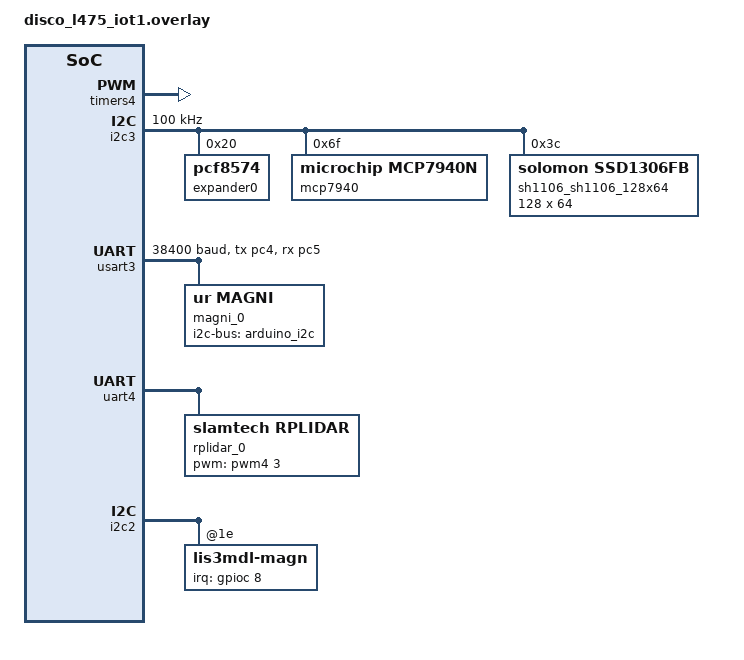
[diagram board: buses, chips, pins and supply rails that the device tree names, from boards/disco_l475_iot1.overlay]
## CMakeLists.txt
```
# Copyright (c) 2021-2026 Tilmann Unte
# SPDX-License-Identifier:  Apache-2.0

list(APPEND ZEPHYR_EXTRA_MODULES
   ${CMAKE_CURRENT_SOURCE_DIR}/ur_magni
   ${CMAKE_CURRENT_SOURCE_DIR}/rplidar
   ${CMAKE_CURRENT_SOURCE_DIR}/libfixmath
   ${CMAKE_CURRENT_SOURCE_DIR}/helpmath
   ${CMAKE_CURRENT_SOURCE_DIR}/kalman
   ${CMAKE_CURRENT_SOURCE_DIR}/movement
)

cmake_minimum_required(VERSION 3.13.1)
find_package(Zephyr REQUIRED HINTS $ENV{ZEPHYR_BASE})
project(magni_sample)

target_sources(app PRIVATE
  src/main.c
  )
```

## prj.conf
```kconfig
# Copyright (c) 2021-2026 Tilmann Unte
# SPDX-License-Identifier:  Apache-2.0

### Scheduling and OS specific
# Deactivate boot message if your really hard pressed for memory
CONFIG_BOOT_BANNER=n

# High-frequency tick-rate, to meet our timing precision requirements
CONFIG_SYS_CLOCK_TICKS_PER_SEC=100000

# We use fine-grained pre-emptive priorities
CONFIG_NUM_PREEMPT_PRIORITIES=127

# This scheduler uses red-black trees and has high codesize, but good scalability
CONFIG_SCHED_SCALABLE=y
# Activates support for relative deadlines, arbitration only within the same priority!
CONFIG_SCHED_DEADLINE=y

# Activate Sensor subsystem (required for pretty much everything in this project)
CONFIG_SENSOR=y

# Activate local libraries
CONFIG_LIBFIXMATH=y
CONFIG_HELPMATH=y
CONFIG_KALMAN_FILTER=y
CONFIG_MOVEMENT=y

# Uncomment/Activate the following to use Queue(1) deadline miss handling strategy (default: Skip-Next)
CONFIG_UR_MAGNI_DEADLINE_MISS_STRATEGY_QUEUE=y
CONFIG_RPLIDAR_DEADLINE_MISS_STRATEGY_QUEUE=y
CONFIG_MOVEMENT_DEADLINE_MISS_STRATEGY_QUEUE=y

### Logging
# Reroute Zephyr serial console to specific UART!
CONFIG_CONSOLE=y
CONFIG_CONSOLE_HANDLER=n
CONFIG_UART_CONSOLE=y

# Activate Logging
CONFIG_LOG_BUFFER_SIZE=4096
CONFIG_LOG=y
CONFIG_LOG_MODE_DEFERRED=y # Warning: this converts printk to logging messages, but this is generally prefered to not slow down application threads
##CONFIG_LOG_MODE_IMMEDIATE=n # in conflict with DEFERRED, but may be useful sometimes
CONFIG_LOG_PROCESS_THREAD=y
## Speed up log message handling at the cost of memory footprint
CONFIG_LOG_SPEED=y
# ERR&WRN&INF&DBG=4, ERR&WRN&INF=3, ERR&WRN=2, ERR=1, (None)=0
CONFIG_LOG_MAX_LEVEL=3

### Debugging (may depend on logging!)
# Build system will warn about assert, but it is useful for critical errors!
CONFIG_ASSERT=y

# Turns off compiler optimizations (WARNING: this will massively increase required stack sizes, especially if combined with logging)
#CONFIG_NO_OPTIMIZATIONS=y

# allows for thread-awareness in GDB sessions
CONFIG_DEBUG_THREAD_INFO=y

# allows for worst case stack usage analysis (e.g. using puncover)
CONFIG_STACK_USAGE=y

# Tracing, will cause delays and probably break real-time applications
#CONFIG_TRACING=y
#CONFIG_TRACING_CTF=y
#CONFIG_TRACING_BACKEND_RAM=y
#CONFIG_RAM_TRACING_BUFFER_SIZE=16384

# Collects data on thread execution, less likely to break application (report triggered by ur_magni_system thread every minute)
CONFIG_THREAD_NAME=y
CONFIG_THREAD_ANALYZER=y
CONFIG_THREAD_ANALYZER_AUTO_SEPARATE_CORES=n
CONFIG_THREAD_ANALYZER_USE_LOG=y

# Produces a coredump for use in GDB whenever the system crashes
#CONFIG_DEBUG_COREDUMP=y
#CONFIG_DEBUG_COREDUMP_BACKEND_LOGGING=y

#CONFIG_INIT_STACKS=y
#CONFIG_THREAD_STACK_INFO=y
#CONFIG_SYSTEM_WORKQUEUE_STACK_SIZE=16384
```

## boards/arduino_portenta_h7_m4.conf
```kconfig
# Copyright (c) 2026 Tilmann Unte
# SPDX-License-Identifier:  Apache-2.0

################################################################################
# Activate UART serial connection (Debug, Magni, RPLIDAR)
CONFIG_SERIAL=y
CONFIG_UART_INTERRUPT_DRIVEN=y

# Overflow protection
CONFIG_HW_STACK_PROTECTION=y

CONFIG_SRAM_VECTOR_TABLE=y
CONFIG_SRAM_SW_ISR_TABLE=y

################################################################################
# Include Magni Driver
CONFIG_APPLICATION_DEFINED_SYSCALL=y
CONFIG_UR_MAGNI_DRIVER=y

# Include Slamtech RPLidar Driver
CONFIG_RPLIDAR=y

################################################################################
```

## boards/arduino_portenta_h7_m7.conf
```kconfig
# Copyright (c) 2026 Tilmann Unte
# SPDX-License-Identifier:  Apache-2.0

################################################################################

# Activate UART serial connection (Debug, Magni, RPLIDAR)
CONFIG_SERIAL=y
CONFIG_UART_INTERRUPT_DRIVEN=y
# USB CDC ACM is the default serial interface for this board, but it creates a number of additional threads we don't want in our comparison
CONFIG_USB_CDC_ACM=n
CONFIG_USB_DEVICE_STACK=n
CONFIG_USB_DEVICE_STACK_NEXT=n

# Overflow protection
CONFIG_HW_STACK_PROTECTION=y

CONFIG_SRAM_VECTOR_TABLE=y
CONFIG_SRAM_SW_ISR_TABLE=y

################################################################################
# Include Magni Driver
CONFIG_APPLICATION_DEFINED_SYSCALL=y
CONFIG_UR_MAGNI_DRIVER=y

# Include Slamtech RPLidar Driver
CONFIG_RPLIDAR=y

################################################################################
```

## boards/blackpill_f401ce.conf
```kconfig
# Copyright (c) 2021 Tilmann Unte
# SPDX-License-Identifier:  Apache-2.0

################################################################################
# Activate UART serial connection (Debug, Magni, RPLIDAR)
CONFIG_SERIAL=y
CONFIG_UART_INTERRUPT_DRIVEN=y

# Overflow protection
CONFIG_HW_STACK_PROTECTION=y

CONFIG_SRAM_VECTOR_TABLE=y
CONFIG_SRAM_SW_ISR_TABLE=y

################################################################################
# Include Magni Driver
CONFIG_APPLICATION_DEFINED_SYSCALL=y
CONFIG_UR_MAGNI_DRIVER=y

# Include Slamtech RPLidar Driver
CONFIG_RPLIDAR=y

################################################################################
```

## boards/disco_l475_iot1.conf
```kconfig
# Copyright (c) 2021-2026 Tilmann Unte
# SPDX-License-Identifier:  Apache-2.0

# Activate UART serial connection (Debug, Magni, RPLIDAR)
CONFIG_SERIAL=y
CONFIG_UART_INTERRUPT_DRIVEN=y

# Activate I2C (Magni expansion bus)
#CONFIG_I2C=y

# Activate PWM (RC Receiver, RPLIDAR motor)
CONFIG_PWM=y
CONFIG_PWM_CAPTURE=y

# Activate GPIO ("User" button, HC-SR04)
#CONFIG_GPIO=y

# Uncomment if you want to shut down the system (useful for reliable termination)
#CONFIG_POWEROFF=y

# Overflow protection
CONFIG_HW_STACK_PROTECTION=y

CONFIG_SRAM_VECTOR_TABLE=y
CONFIG_SRAM_SW_ISR_TABLE=y

# Activates Task Watchdog functionality (deactivate for debugging sessions)
CONFIG_WATCHDOG=y
CONFIG_TASK_WDT=y
CONFIG_TASK_WDT_CHANNELS=100
CONFIG_TASK_WDT_MIN_TIMEOUT=1
CONFIG_TASK_WDT_HW_FALLBACK=y
CONFIG_TASK_WDT_HW_FALLBACK_DELAY=10000
#CONFIG_WDT_LOG_LEVEL_DBG=y
CONFIG_WDT_DISABLE_AT_BOOT=y

################################################################################
# Include Magni Driver
CONFIG_APPLICATION_DEFINED_SYSCALL=y
CONFIG_UR_MAGNI_DRIVER=y
#CONFIG_UR_MAGNI_EXPANDER=y

# Activate display driver to use Magni's SH1106 OLED
# also activates I2C, but we have multiple devices, so we did it seperately
#CONFIG_DISPLAY=y

# Include Slamtech RPLidar Driver
CONFIG_RPLIDAR=y
CONFIG_RPLIDAR_MOTOR_CTRL=y

# ST sensor drivers
CONFIG_SENSOR=y
CONFIG_LIS3MDL=n
#CONFIG_LIS3MDL_TRIGGER_GLOBAL_THREAD=y
#CONFIG_LIS3MDL_ODR="10"
#CONFIG_LIS3MDL_FS=4
CONFIG_LSM6DSL=n
#CONFIG_LSM6DSL_TRIGGER_GLOBAL_THREAD=y
#CONFIG_LSM6DSL_GYRO_FS=125
#CONFIG_LSM6DSL_GYRO_ODR=1
#CONFIG_LSM6DSL_ACCEL_FS=2
#CONFIG_LSM6DSL_ACCEL_ODR=1
CONFIG_VL53L0X=n
```

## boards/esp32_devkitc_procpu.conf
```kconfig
# Copyright (c) 2026 Tilmann Unte
# SPDX-License-Identifier:  Apache-2.0

# Board specific setting making life easier
CONFIG_BOOTLOADER_MCUBOOT=y

# Activate UART serial connection (Debug, Magni, RPLIDAR)
CONFIG_SERIAL=y
CONFIG_UART_INTERRUPT_DRIVEN=y

CONFIG_SRAM_SW_ISR_TABLE=y

# Activates Task Watchdog functionality (deactivate for debugging sessions)
CONFIG_WATCHDOG=y
CONFIG_TASK_WDT=y
CONFIG_TASK_WDT_CHANNELS=100
CONFIG_TASK_WDT_MIN_TIMEOUT=1
CONFIG_TASK_WDT_HW_FALLBACK=y
CONFIG_TASK_WDT_HW_FALLBACK_DELAY=10000
#CONFIG_WDT_LOG_LEVEL_DBG=y
CONFIG_WDT_DISABLE_AT_BOOT=y

################################################################################
# Include Magni Driver
CONFIG_APPLICATION_DEFINED_SYSCALL=y
CONFIG_UR_MAGNI_DRIVER=y

# Include Slamtech RPLidar Driver
CONFIG_RPLIDAR=y
```

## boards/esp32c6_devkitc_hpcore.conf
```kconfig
# Copyright (c) 2026 Tilmann Unte
# SPDX-License-Identifier:  Apache-2.0

CONFIG_ULP_COPROC_ENABLED=n
CONFIG_BOOTLOADER_MCUBOOT=y

# Activate UART serial connection (Debug, Magni, RPLIDAR)
CONFIG_SERIAL=y
CONFIG_UART_INTERRUPT_DRIVEN=y

# almost complete standard library for applications
#CONFIG_PICOLIBC_USE_MODULE=y

CONFIG_SRAM_SW_ISR_TABLE=y

# Activates Task Watchdog functionality (deactivate for debugging sessions)
#CONFIG_WATCHDOG=y
#CONFIG_TASK_WDT=y
#CONFIG_TASK_WDT_CHANNELS=100
#CONFIG_TASK_WDT_MIN_TIMEOUT=1
#CONFIG_TASK_WDT_HW_FALLBACK=y
#CONFIG_TASK_WDT_HW_FALLBACK_DELAY=10000
#CONFIG_WDT_LOG_LEVEL_DBG=y
#CONFIG_WDT_DISABLE_AT_BOOT=y
################################################################################
# Include Magni Driver
CONFIG_APPLICATION_DEFINED_SYSCALL=y
CONFIG_UR_MAGNI_DRIVER=y

# Include Slamtech RPLidar Driver
CONFIG_RPLIDAR=y
```

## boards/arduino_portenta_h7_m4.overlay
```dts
/* Copyright (c) 2026 Tilmann Unte
 * SPDX-License-Identifier:  Apache-2.0
 */

/* TODO pins pa9 and pa10 */
/*
/ {
	/* HW resources are split between CM7 and CM4 */
	chosen {
		zephyr,console = &usart1;
		zephyr,shell-uart = &usart1;
	};
};
*/
&usart1 {
	status = "disabled";
};

&uart4 {
	status = "disabled";
/*
	pinctrl-0 = < &uart4_tx_pa0_c &uart4_rx_pa1_c >;
	pinctrl-names = "default";
	current-speed = <115200>;
	
	rplidar_0 {
		compatible = "slamtech,rplidar";
		status = "okay";
	};
*/
};

&usart6 {
	status = "disabled";
/*
	pinctrl-0 = < &usart6_tx_pc6 &usart6_rx_pc7 >;
	pinctrl-names = "default";
	current-speed = <38400>;
	
	magni_0 {
		compatible = "ur,magni";
	};
*/
};
```

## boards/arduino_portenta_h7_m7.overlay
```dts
/* Copyright (c) 2026 Tilmann Unte
 * SPDX-License-Identifier:  Apache-2.0
 */

/* Serial 2 on the mid carrier board! */
&usart6 {
	status = "okay";
	current-speed = <38400>;

	magni_0 {
		compatible = "ur,magni";
	};
};

/* Serial 3 on the mid carrier board! */
&uart8 {
	status = "okay";
	current-speed = <115200>;
	
	rplidar_0 {
		compatible = "slamtech,rplidar";
		status = "okay";
	};
};

&usart1 {
	status = "okay";
};

/ {
	chosen {
		zephyr,console = &usart1;
		zephyr,shell-uart = &usart1;
	};
};

&usbotg_hs {
	status = "disabled";
};

&bt_hci_uart {
	status = "disabled";
};

&wifi {
	status = "disabled";
};
```

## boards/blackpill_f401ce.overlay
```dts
/* Copyright (c) 2026 Tilmann Unte
 * SPDX-License-Identifier:  Apache-2.0
 */

/*
&timers4 {
	status = "okay";

	pwm4: pwm {
		status = "okay";
		pinctrl-0 = <&tim4_ch1_pb6 &tim4_ch2_pb7>;
		pinctrl-names = "default";
	};
};
*/

&usart2 {
	pinctrl-0 = <&usart2_tx_pa2 &usart2_rx_pa3>;
	pinctrl-names = "default";
	status = "okay";
	current-speed = <38400>;

	magni_0 {
		compatible = "ur,magni";
	};
};

&usart6 {
	pinctrl-0 = <&usart6_tx_pa11 &usart6_rx_pa12>;
	pinctrl-names = "default";
	status = "okay";
	current-speed = <115200>;

	rplidar_0 {
		compatible = "slamtech,rplidar";
		status = "okay";
	};
};

/* in conflict with usart6 pins */
&usbotg_fs {
	status = "disabled";
};
```

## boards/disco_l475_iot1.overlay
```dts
/*
 * Copyright (c) 2021-2026 Tilmann Unte
 * SPDX-License-Identifier:  Apache-2.0
*/

&timers4 {
	status = "okay";
	pwm4: pwm {
		status = "okay";
		pinctrl-0 = <&tim4_ch3_pd14>;
		pinctrl-names = "default";
	};
};

/* Strictly speaking, I2C is optional, but highly recommended! */
&i2c3 {
	status = "okay";
	clock-frequency = <I2C_BITRATE_STANDARD>;

	expander0: pcf8574@20 {
		compatible = "pcf8574";
		reg = <0x20>;
	};
	
	mcp7940@6f {
		compatible = "microchip,mcp7940n";
		reg = <0x6f>;
	};
	
	sh1106_sh1106_128x64: ssd1306@3c {
		compatible = "solomon,ssd1306fb";
		reg = <0x3c>;
		width = <128>;
		height = <64>;
		segment-offset = <2>;
		page-offset = <0>;
		display-offset = <0>;
		multiplex-ratio = <63>;
		segment-remap;
		com-invdir;
		prechargep = <0x22>;
	};
};

&usart3 {
	status = "okay";
	current-speed = <38400>;
	pinctrl-0 = <&usart3_tx_pc4 &usart3_rx_pc5>;
	pinctrl-names = "default";
	
	magni_0 {
		compatible = "ur,magni";
		i2c-bus = <&arduino_i2c>;
	};
};

&uart4 {
	status = "okay";
	pinctrl-names = "default";
	
	rplidar_0 {
		compatible = "slamtech,rplidar";
		status = "okay";
		pwms = <&pwm4 3 65536 PWM_POLARITY_NORMAL>;
	};
};

/* allows for interrupt triggering when magnetometer data is available */
&i2c2 {
	lis3mdl-magn@1e {
		irq-gpios = <&gpioc 8 GPIO_ACTIVE_HIGH>;
	};
};

/* Voltage Sensing conflicts with UART4 functionality */
&vref {
	status = "disabled";
};

&vbat {
	status = "disabled";
};

/* ADC1 conflicts with USART3 functionality */
&adc1 {
	status = "disabled";
};
```

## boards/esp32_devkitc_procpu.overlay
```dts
/* Copyright (c) 2026 Tilmann Unte
 * SPDX-License-Identifier:  Apache-2.0
 */

&pinctrl {
	uart1_default: uart1_default {
		group1 {
			pinmux = <UART1_TX_GPIO19>;
		};

		group2 {
			pinmux = <UART1_RX_GPIO18>;
			bias-pull-up;
		};
	};
};
&uart1 {
	current-speed = <38400>;
	pinctrl-0 = <&uart1_default>;
	pinctrl-names = "default";
	status = "okay";

	magni_0 {
		compatible = "ur,magni";
	};
};

&uart2 {
	status = "okay";
	
	rplidar_0 {
		compatible = "slamtech,rplidar";
		status = "okay";
	};
};
```

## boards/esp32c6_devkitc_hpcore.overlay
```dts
/* Copyright (c) 2026 Tilmann Unte
 * SPDX-License-Identifier:  Apache-2.0
 */
/* LPUART uses pins 5 and 4 */

&timer0 {
	status = "okay";

	counter {
		status = "okay";
	};
};

&timer1 {
	status = "okay";

	counter {
		status = "okay";
	};
};

/ {
	uartbb0: uartbb0 {
		compatible = "zephyr,uart-bitbang";
		tx-gpios = <&gpio0 10 GPIO_ACTIVE_HIGH>;
		rx-gpios = <&gpio0 11 GPIO_ACTIVE_HIGH>;
		tx-fifo-size = <8192>;
		rx-fifo-size = <8192>;
		current-speed = <9600>;
		data-bits = <8>;
		stop-bits = "1";
		parity = "none";
		tx-timer = <&timer0>;
		rx-timer = <&timer1>;
		status = "okay";
	};

	chosen {
		zephyr,console = &uartbb0;
		zephyr,shell-uart = &uartbb0;
	};

};
		
&pinctrl {
	uart0_default: uart0_default {
		group1 {
			pinmux = <UART0_TX_GPIO20>;
			output-high;
		};

		group2 {
			pinmux = <UART0_RX_GPIO21>;
			bias-pull-up;
		};
	};

	uart1_default: uart1_default {
		group1 {
			pinmux = <UART1_TX_GPIO18>;
			output-high;
		};

		group2 {
			pinmux = <UART1_RX_GPIO19>;
			bias-pull-up;
		};
	};
};

&uart0 {
	status = "okay";
	current-speed = <38400>;
	pinctrl-0 = <&uart0_default>;
	pinctrl-names = "default";

	magni_0 {
		compatible = "ur,magni";
	};
};

&uart1 {
	status = "okay";
	current-speed = <115200>;
	pinctrl-0 = <&uart1_default>;
	pinctrl-names = "default";

	rplidar_0 {
		compatible = "slamtech,rplidar";
		status = "okay";
	};
};
```

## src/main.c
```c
/*
 * Copyright (c) 2021-2026 Tilmann Unte
 * SPDX-License-Identifier:  Apache-2.0
*/

#include <zephyr/device.h>
#include <zephyr/kernel.h>
#include <zephyr/drivers/sensor.h>
#include <zephyr/logging/log.h>
#include <zephyr/timing/timing.h>
#include <zephyr/task_wdt/task_wdt.h>
#include <zephyr/drivers/watchdog.h>

#ifdef CONFIG_UR_MAGNI_DRIVER
#include "ur_magni.h"
#endif /* CONFIG_UR_MAGNI_DRIVER */
#ifdef CONFIG_RPLIDAR
#include "rplidar.h"
#endif /* CONFIG_RPLIDAR */
#ifdef CONFIG_LIBFIXMATH
#include "fixmath.h"
#endif /* CONFIG_LIBFIXMATH */
#ifdef CONFIG_HELPMATH
#include "helpmath.h"
#endif /* CONFIG_HELPMATH */
#ifdef CONFIG_KALMAN_FILTER
#include "kalman.h"
#endif /* CONFIG_KALMAN_FILTER */
#ifdef CONFIG_MOVEMENT
#include "movement.h"
#endif /* CONFIG_MOVEMENT */

#define STACK_SIZE 1024

#ifdef CONFIG_UR_MAGNI_DRIVER
#define MAGNI DT_INST(0, ur_magni)
#define MAGNI_THREAD_PRIORITY UR_MAGNI_VELOCITY_THREAD_PRIORITY // = 26
#define MAGNI_THREAD_PERIOD_MSEC UR_MAGNI_VELOCITY_UPDATE_MSEC
#endif /* CONFIG_UR_MAGNI_DRIVER */

#ifdef CONFIG_RC_RECEIVER_DRIVER
#define GEAR DT_NODELABEL(gear)
#endif /* CONFIG_RC_RECEIVER_DRIVER */

#ifdef CONFIG_RPLIDAR
#define RPLIDAR DT_INST(0, slamtech_rplidar)
#define RPLIDAR_FULL_ROTATION_MSEC 250
#define DISTANCE_MEASUREMENT_THREAD_PRIORITY LOG2CEIL(RPLIDAR_FULL_ROTATION_MSEC * NSEC_PER_MSEC) // = 28
#endif /* CONFIG_RPLIDAR */

LOG_MODULE_REGISTER(application);

#ifdef CONFIG_UR_MAGNI_DRIVER
atomic_t magni_watchdog = ATOMIC_INIT(-1);
#endif /* CONFIG_UR_MAGNI_DRIVER */

#ifdef CONFIG_RPLIDAR
struct lidar_measurement {
	fix16_t angle, dist;
};

struct lidar_data {
	const struct device *rplidar;
	struct k_timer timer;
	struct k_msgq *msgq;
	struct k_mutex *measurements_mutex;
	struct lidar_measurement* live_measurements;
	struct lidar_measurement* snap_measurements;
	struct lidar_measurement measurements[2][360];
	int64_t timestamp;
	uint16_t measurement_count;
	atomic_t rplidar_watchdog;
};

K_MUTEX_DEFINE(measurements_mutex);

struct lidar_data lidar_data_0 = {
	.live_measurements = NULL,
	.snap_measurements = NULL,
	.timestamp = -1,
	.measurement_count = 0,
	.rplidar_watchdog = ATOMIC_INIT(-1),
	.measurements_mutex = &measurements_mutex,
};

#endif /* CONFIG_RPLIDAR */

#ifdef CONFIG_WATCHDOG
static void main_watchdog_callback(int channel_id, void* user_data)
{
	k_tid_t thread = (k_tid_t) user_data;
	#ifdef CONFIG_THREAD_NAME
	const char* name = k_thread_name_get(thread);
	if (name != NULL) {
		LOG_DBG("%s deadline", name);
	} else {
		LOG_DBG("%p on chan%i deadline", thread, channel_id);
	}
	#else
	LOG_DBG("%p on chan %i deadline", thread, channel_id);
	#endif /* CONFIG_THREAD_NAME */
	//TODO: Potential to implement Kill Strategy
	//Caveat: all resources (e.g. mutexes) held by thread MUST be released first!
	//Thread then needs to be reinitialized
	//k_thread_abort(*thread);
}
#endif /* CONFIG_WATCHDOG */

#ifdef CONFIG_UR_MAGNI_DRIVER
//FIXME: This thread has a mess of compile-time dependencies
static void magni_thread(void* p1, void* p2, void* p3)
{
	ARG_UNUSED(p1);
	ARG_UNUSED(p2);
	ARG_UNUSED(p3);
	const struct device* magni = DEVICE_DT_GET(MAGNI);
	int ret;
	ret = device_is_ready(magni);
	__ASSERT(ret , "Can't find magni");
	
	#ifdef CONFIG_RC_RECEIVER_DRIVER
	const struct device *gear = DEVICE_DT_GET(GEAR);

	ret = device_is_ready(gear);
	__ASSERT(ret, "can't find RC gear channel");

	struct sensor_value gear_val;
	#endif /* CONFIG_RC_RECEIVER_DRIVER */
	
	#ifdef CONFIG_MOVEMENT
	struct movement movement;
	movement_init(&movement, magni);
	
	struct movement_pose current, goal;
	get_current_pose(&movement, &current, K_FOREVER);
	get_current_pose(&movement, &goal, K_FOREVER);
	LOG_DBG("start pose: x: %i mm, y: %i mm, yaw: %i millirad", fix16_to_int(fix16_mul(current.x, fix16_from_int(1000))), fix16_to_int(fix16_mul(current.y, fix16_from_int(1000))), fix16_to_int(fix16_mul(current.orientation, fix16_from_int(1000))));
	
	struct sensor_value vel_left, vel_right;
	fix16_t avg_vel;
	#ifdef CONFIG_RPLIDAR
	fix16_t dist_in_front = 0;
	fix16_t min_dist = fix16_from_int(12);
	const fix16_t dist_threshold = fix16_div(fix16_from_int(80), fix16_from_int(100));
	const fix16_t front_lower = deg_to_rad(fix16_from_int(83));
	const fix16_t front_upper = deg_to_rad(fix16_from_int(97));
	int64_t prev_timestamp = -1;
	bool new_data = false;
	bool move_command_delay = false;
	bool obstacle_reached = false;
	
	#ifdef CONFIG_KALMAN_FILTER
	struct kalman kalman;
	fix16_t kf_dist;
	kalman_init(&kalman);
	#endif /* CONFIG_KALMAN_FILTER */
	#endif /* CONFIG_RPLIDAR */
	#endif /* CONFIG_MOVEMENT */
	
	extern const k_tid_t magni_tcb;
	
	struct k_timer timer;
	k_timer_init(&timer, NULL, NULL);
	uint64_t period_ticks = k_ms_to_ticks_near64(MAGNI_THREAD_PERIOD_MSEC);
	k_timer_start(&timer,
		K_TICKS(period_ticks - (k_uptime_ticks() % period_ticks)),
		K_TICKS(period_ticks));

	#ifdef CONFIG_UR_MAGNI_DEADLINE_MISS_STRATEGY_QUEUE
	bool deadline_miss = false;
	#endif

	#ifdef CONFIG_WATCHDOG
	k_timer_status_sync(&timer);
	atomic_set(&magni_watchdog, task_wdt_add(MAGNI_THREAD_PERIOD_MSEC, main_watchdog_callback, magni_tcb));
	task_wdt_feed(atomic_get(&magni_watchdog));
	#else
	int64_t deadline;
	#endif /* CONFIG_WATCHDOG */

	for(;;) {
		#ifdef CONFIG_UR_MAGNI_DEADLINE_MISS_STRATEGY_QUEUE
		if (deadline_miss == false) k_timer_status_sync(&timer);
		#else
		k_timer_status_sync(&timer);
		#endif

		k_timepoint_t deadline_tp = sys_timepoint_calc(K_TICKS(k_timer_remaining_ticks(&timer)));

		#ifdef CONFIG_SCHED_DEADLINE
		k_thread_deadline_set(magni_tcb,
			k_ticks_to_cyc_floor32(k_timer_remaining_ticks(&timer)));
		#endif /* CONFIG_SCHED_DEADLINE */
		
		#ifndef CONFIG_WATCHDOG
		deadline = k_uptime_get() + k_timer_remaining_get(&timer);
		#endif /* CONFIG_WATCHDOG */
		
	        //k_timepoint_t end = sys_timepoint_calc(K_MSEC(k_timer_remaining_get(&timer)));

		#ifdef CONFIG_RC_RECEIVER_DRIVER
		ret = sensor_sample_fetch(gear);
		if (!ret) {
			sensor_channel_get(gear, SENSOR_CHAN_ALL, &gear_val);
		} else {
			LOG_WRN("Can't fetch new data from remote");
		}
		
		#ifdef CONFIG_MOVEMENT
		// Switch setting will continuously force stop all move commands
		if (gear_val.val2 < 1500) {
			LOG_INF("RC stop command received!");
			force_stop(movement);
		}
		#endif /* CONFIG_MOVEMENT */
		#endif /* CONFIG_RC_RECEIVER_DRIVER */
		
		#ifdef CONFIG_RPLIDAR
		// FIXME: directly accessing the global data is not great design
		new_data = false;
		if (k_mutex_lock(lidar_data_0.measurements_mutex, sys_timepoint_timeout(deadline_tp)) == 0) {
			
			if (lidar_data_0.timestamp > prev_timestamp) {
				dist_in_front = 0;
				min_dist = fix16_from_int(12);
				fix16_t avg_div = 0;
				
				for (int16_t i = 0; i < lidar_data_0.measurement_count; i++) {
					if (lidar_data_0.snap_measurements[i].angle >= front_lower && lidar_data_0.snap_measurements[i].angle <= front_upper) {
						dist_in_front = fix16_add(dist_in_front, lidar_data_0.snap_measurements[i].dist);
						avg_div = fix16_add(avg_div, fix16_from_int(1));
					}
					
					if (lidar_data_0.snap_measurements[i].dist < min_dist) {
						min_dist = lidar_data_0.snap_measurements[i].dist;
					}
				}
				
				if (avg_div != 0) {
					dist_in_front = fix16_div(dist_in_front, avg_div);
					new_data = true;
				}
				
				prev_timestamp = lidar_data_0.timestamp;
			}
			
			k_mutex_unlock(lidar_data_0.measurements_mutex);
		} else {
			LOG_ERR("Cannot access measurement mutex");
		}
		#endif /* CONFIG_RPLIDAR */
		
		#ifdef CONFIG_MOVEMENT
		get_current_pose(&movement, &current,
			sys_timepoint_timeout(deadline_tp));

		#ifdef CONFIG_RPLIDAR
		if (!is_moving(&movement)) {
			if (!move_command_delay) {
				if (obstacle_reached == false && new_data == true && dist_in_front > dist_threshold) { /* Move Forward a bit*/
					LOG_DBG("Dist in front is %i mm", fix16_to_int(fix16_mul(dist_in_front, fix16_from_int(1000))));
					fix16_t safe_dist = fix16_div(fix16_from_int(1), fix16_from_int(2));//fix16_sub(min_dist, dist_threshold);
					// make sure we're actually making useful progress with the next move				
					if (safe_dist > fix16_div(fix16_from_int(5), fix16_from_int(100))) {
						// lidar polar coordinates to local cartesian coordinates, then rotate and transform to produce global poal position
						fix16_t local_x, local_y;
						local_x = fix16_mul(safe_dist, fix16_cos(PI_DIV_2));
						local_y = fix16_mul(safe_dist, fix16_sin(PI_DIV_2));
				
						fix16_t global_x_delta, global_y_delta;
						global_x_delta = fix16_sub(fix16_mul(local_y, fix16_cos(current.orientation)),
									fix16_mul(local_x, fix16_sin(current.orientation)));
						global_y_delta = fix16_add(fix16_mul(local_y, fix16_sin(current.orientation)),
									fix16_mul(local_x, fix16_cos(current.orientation)));

						goal.x = current.x + global_x_delta;
						goal.y = current.y + global_y_delta;
						// goal.orientation is unused and we end up with whatever orientation the movement API requires to reach the goal position
						#ifdef CONFIG_RC_RECEIVER_DRIVER
						if (gear.val2 >= 1500) {
							move_command(&movement, goal.x, goal.y,
								sys_timepoint_timeout(deadline_tp));
							move_command_delay = true;
							obstacle_reached = true;
						}
						#else
						move_command(&movement, goal.x, goal.y,
							sys_timepoint_timeout(deadline_tp));
						move_command_delay = true;
						obstacle_reached = true;
						#endif /* CONFIG_RC_RECEIVER_DRIVER */
						
						#ifdef CONFIG_KALMAN_FILTER
						kalman_reset(&kalman);
						#endif /* CONFIG_KALMAN_FILTER */
					}
				} else if (obstacle_reached == true && new_data == true) { /* Turn to look for a way around an obstacle */
					
					//FIXME: Remove code duplication
					// We need a minimum amount of linear movement as pure rotations are not supported by our movement command library
					fix16_t safe_dist = fix16_div(fix16_from_int(6), fix16_from_int(100));
					// lidar polar coordinates to local cartesian coordinates, then rotate and transform to produce global poal position
					fix16_t local_x, local_y;
					local_x = fix16_mul(safe_dist, fix16_cos(180));
					local_y = fix16_mul(safe_dist, fix16_sin(180));
				
					fix16_t global_x_delta, global_y_delta;
					global_x_delta = fix16_sub(fix16_mul(local_y, fix16_cos(current.orientation)),
								fix16_mul(local_x, fix16_sin(current.orientation)));
					global_y_delta = fix16_add(fix16_mul(local_y, fix16_sin(current.orientation)),
								fix16_mul(local_x, fix16_cos(current.orientation)));

					goal.x = current.x + global_x_delta;
					goal.y = current.y + global_y_delta;
					// goal.orientation is unused and we end up with whatever orientation the movement API requires to reach the goal position
					#ifdef CONFIG_RC_RECEIVER_DRIVER
					if (gear.val2 >= 1500) {
						move_command(&movement, goal.x, goal.y,
							sys_timepoint_timeout(deadline_tp));
						move_command_delay = true;
						obstacle_reached = false;
					}
					#else
					move_command(&movement, goal.x, goal.y,
						sys_timepoint_timeout(deadline_tp));
					move_command_delay = true;
					obstacle_reached = false;
					#endif /* CONFIG_RC_RECEIVER_DRIVER */
					
					#ifdef CONFIG_KALMAN_FILTER
					kalman_reset(&kalman);
					#endif /* CONFIG_KALMAN_FILTER */
				} else {
					LOG_DBG("Waiting for distance data before making a move");
				}
			} else {
				// Whenever we have just finished a move command we allow for a delay to acquire fresher LiDAR data
				move_command_delay = false;
			}
		} else {
			if (!is_turning(&movement)) {
				ur_magni_sample_fetch_with_timeout(magni, K_FOREVER);
				sensor_channel_get(magni, SENSOR_CHAN_UR_MAGNI_VELOCITY_LEFT, &vel_left);
				sensor_channel_get(magni, SENSOR_CHAN_UR_MAGNI_VELOCITY_RIGHT, &vel_right);
			
				avg_vel = fix16_div(fix16_add(sensor_value_to_fix16_t(&vel_left), sensor_value_to_fix16_t(&vel_right)), fix16_from_int(2));
			
				if (new_data == true) {
					#ifdef CONFIG_KALMAN_FILTER
					kf_dist = kalman_step(&kalman, dist_in_front, PI_DIV_2, avg_vel);
					
					if (kf_dist < dist_threshold) {
						force_stop(&movement);
						obstacle_reached = true;
						LOG_DBG("Distance under threshold");
					}
					
					//FIXME: Detecting a dynamic change is not reliable in a single iteration. Experiments with sonars had good results when resetting after 3 iterations of significant deviation, but the LiDAR is slower and more noisy in comparision.
					/*if (kf_dist > fix16_mul(dist_in_front, fix16_div(fix16_from_int(6), fix16_from_int(4)))) {
						LOG_INF("Sudden appearance of an obstacle, resetting Kalman");
						kalman_reset(&kalman);
						if (dist_in_front < dist_threshold) {
							force_stop(&movement);
							LOG_INF("Raw distance under threshold");
						}
					}*/
					#else
					if (dist_in_front < dist_threshold) {
						force_stop(&movement);
						obstacle_reached = true;
						LOG_DBG("Measured distance under threshold");
					}
					#endif /* CONFIG_KALMAN_FILTER */
				} else {
					LOG_DBG("Moving without new data on surroundings");
				}
			} else {
				#ifdef CONFIG_KALMAN_FILTER
				kalman_reset(&kalman);
				#endif /* CONFIG_KALMAN_FILTER */
			}
		}
		#endif /* CONFIG_RPLIDAR */
		#endif /* CONFIG_MOVEMENT */

		#ifdef CONFIG_UR_MAGNI_DEADLINE_MISS_STRATEGY_QUEUE
		deadline_miss = sys_timepoint_expired(deadline_tp);
		#endif

		#ifdef CONFIG_WATCHDOG
		task_wdt_feed(atomic_get(&magni_watchdog));
		#else
		if (deadline < k_uptime_get()) {
			LOG_DBG("Top-level magni deadline");
		}
		#endif /* CONFIG_WATCHDOG */
	}
}
#endif /* CONFIG_UR_MAGNI_DRIVER */

#ifdef CONFIG_RPLIDAR

static void lidar_thread(void* p1, void* p2, void* p3)
{
	ARG_UNUSED(p2);
	ARG_UNUSED(p3);

	struct lidar_data* data = p1;
	
	data->rplidar = DEVICE_DT_GET(RPLIDAR);
	int ret = device_is_ready(data->rplidar);
	__ASSERT(ret, "Lidar not found!");
	
	rplidar_measurement_node node;
	rplidar_result ans;
	
	extern const k_tid_t lidar_tcb;
	
	const fix16_t lower_range = fix16_div(fix16_from_int(15), fix16_from_int(100));
	const fix16_t upper_range = fix16_from_int(12);

	k_timer_init(&data->timer, NULL, NULL);
	uint64_t period_ticks = k_ms_to_ticks_near64(RPLIDAR_FULL_ROTATION_MSEC);
	k_timer_start(&data->timer,
		K_TICKS(period_ticks - (k_uptime_ticks() % period_ticks)),
		K_TICKS(period_ticks));

	if (k_mutex_lock(data->measurements_mutex, K_FOREVER) == 0) {
	
		data->measurement_count = 0;
		
		data->live_measurements = data->measurements[0];
		data->snap_measurements = data->measurements[1];
		
		data->timestamp = k_uptime_get();
		
		k_mutex_unlock(data->measurements_mutex);
	}
	
	//FIXME: Cold starting the LiDAR is very unreliable and takes a long time
	do {
		rplidar_reset(data->rplidar);
		k_timer_status_sync(&data->timer);
		ans = rplidar_start_scan(data->rplidar, &data->msgq);
	} while (RPLIDAR_IS_FAIL(ans));

	#ifdef CONFIG_RPLIDAR_DEADLINE_MISS_STRATEGY_QUEUE
	bool deadline_miss = false;
	#endif
	
	#ifdef CONFIG_WATCHDOG
	k_timer_status_sync(&data->timer);
	atomic_set(&data->rplidar_watchdog, task_wdt_add(RPLIDAR_FULL_ROTATION_MSEC, main_watchdog_callback, lidar_tcb));
	task_wdt_feed(atomic_get(&data->rplidar_watchdog));
	#else
	int64_t deadline;
	#endif /* CONFIG_WATCHDOG */
	
	for (;;) {
		#ifdef CONFIG_RPLIDAR_DEADLINE_MISS_STRATEGY_QUEUE
		if (deadline_miss == false) k_timer_status_sync(&data->timer);
		#else
		k_timer_status_sync(&data->timer);
		#endif

		k_timepoint_t deadline_tp = sys_timepoint_calc(K_TICKS(k_timer_remaining_ticks(&data->timer)));
		
		#ifdef CONFIG_SCHED_DEADLINE
		k_thread_deadline_set(lidar_tcb, k_ticks_to_cyc_floor32(k_timer_remaining_ticks(&data->timer)));
		#endif /* CONFIG_SCHED_DEADLINE */
		
		#ifndef CONFIG_WATCHDOG
		deadline = k_uptime_get() + k_timer_remaining_get(&data->timer);
		#endif /* CONFIG_WATCHDOG */
		
	        //k_timepoint_t end = sys_timepoint_calc(K_MSEC(k_timer_remaining_get(&timer)));
		
		/*FIXME: some of these are now redundant, but the LiDAR is very finicky and they may help to verify that you got a good set of measurements */
		uint8_t start_bit_count = 0;
		uint16_t quality_sample_count = 0;
		
		fix16_t angle_in_rad_normalized;
		uint32_t angle_integral = 0;
		
		/* gather measurements from approx. full rotation starting at an arbitrary point */
		for (int16_t i = 0; i < 360; i++) {
			if (sys_timepoint_expired(deadline_tp)) {
				LOG_DBG("Lidar sample collection deadline reached or exceeded");
				break;
			}

			ret = k_msgq_get(data->msgq, &node, sys_timepoint_timeout(deadline_tp));
			if (ret == 0) {
				if (node.startBit == true) {
					start_bit_count++;
				}
				
				// Lidar scans in CW direction and reports degrees with 0° front facing
				// we transform it to polor coordinates (CCW) with 0 radians facing right (along positive X-axis)
				// adjust offset
				angle_in_rad_normalized = sensor_degrees_to_fix16_t_rad(&node.angle);
				angle_in_rad_normalized = fix16_sub(angle_in_rad_normalized, PI_DIV_2);
				if (angle_in_rad_normalized < 0) angle_in_rad_normalized = fix16_add(angle_in_rad_normalized, PI_MUL_2);
				// mirror rotation
				angle_in_rad_normalized = fix16_mul(angle_in_rad_normalized, fix16_from_int(-1));
				if (angle_in_rad_normalized != 0) angle_in_rad_normalized = fix16_add(angle_in_rad_normalized, PI_MUL_2);
			
				// We reduce the processing time downstream by only keeping data within the valid distance range
				// OPTIONAL: The .quality field provides 6-Bits of information on the strength of reflectance of each sample. We had confusing/inconsistent results when filtering data by .quality
				fix16_t dist = sensor_value_to_fix16_t(&node.distance);
				if (dist > lower_range && dist < upper_range) {
					data->live_measurements[quality_sample_count].dist = dist;
					data->live_measurements[quality_sample_count].angle = angle_in_rad_normalized;
					quality_sample_count++;
					//printk("%i;%i\n", fix16_to_int(rad_to_deg(angle_in_rad_normalized)), fix16_to_int(fix16_mul(dist, fix16_from_int(1000))));
				}
				
				uint16_t degrees = fix16_to_int(rad_to_deg(angle_in_rad_normalized)) % 360;
				angle_integral += degrees;
			} else if (ret == -EAGAIN){
				LOG_DBG("Lidar sample collection timeout");
				break;
			}
		}
		
		/* perform buffer exchange to hand over collected data to consuming threads */
		if (k_mutex_lock(data->measurements_mutex, sys_timepoint_timeout(deadline_tp)) == 0) {
			struct lidar_measurement* tmp;
			tmp = data->snap_measurements;
			data->snap_measurements = data->live_measurements;
			data->live_measurements = tmp;
			
			data->measurement_count = quality_sample_count;
			data->timestamp = k_uptime_get();
			k_mutex_unlock(data->measurements_mutex);
		} else {
			LOG_ERR("Cannot acquire measurement mutex to perform buffer swap!");
		}

		#ifdef CONFIG_RPLIDAR_DEADLINE_MISS_STRATEGY_QUEUE
		deadline_miss = sys_timepoint_expired(deadline_tp);
		#endif
	
		#ifdef CONFIG_WATCHDOG
		task_wdt_feed(atomic_get(&data->rplidar_watchdog));
		#else
		if (deadline < k_uptime_get()) {
			LOG_DBG("Top-level lidar deadline");
		}
		#endif /* CONFIG_WATCHDOG */
	}
}
#endif /* CONFIG_RPLIDAR */

#ifdef CONFIG_UR_MAGNI_DRIVER
K_THREAD_DEFINE(magni_tcb, STACK_SIZE, magni_thread, NULL, NULL, NULL, MAGNI_THREAD_PRIORITY, 0, 2000);
#endif /* CONFIG_UR_MAGNI_DRIVER */
//TODO Front Facing Sonar

#ifdef CONFIG_RPLIDAR
K_THREAD_DEFINE(lidar_tcb, STACK_SIZE, lidar_thread, &lidar_data_0, NULL, NULL, DISTANCE_MEASUREMENT_THREAD_PRIORITY, 0, 2000);
#endif /* CONFIG_RPLIDAR */
```
